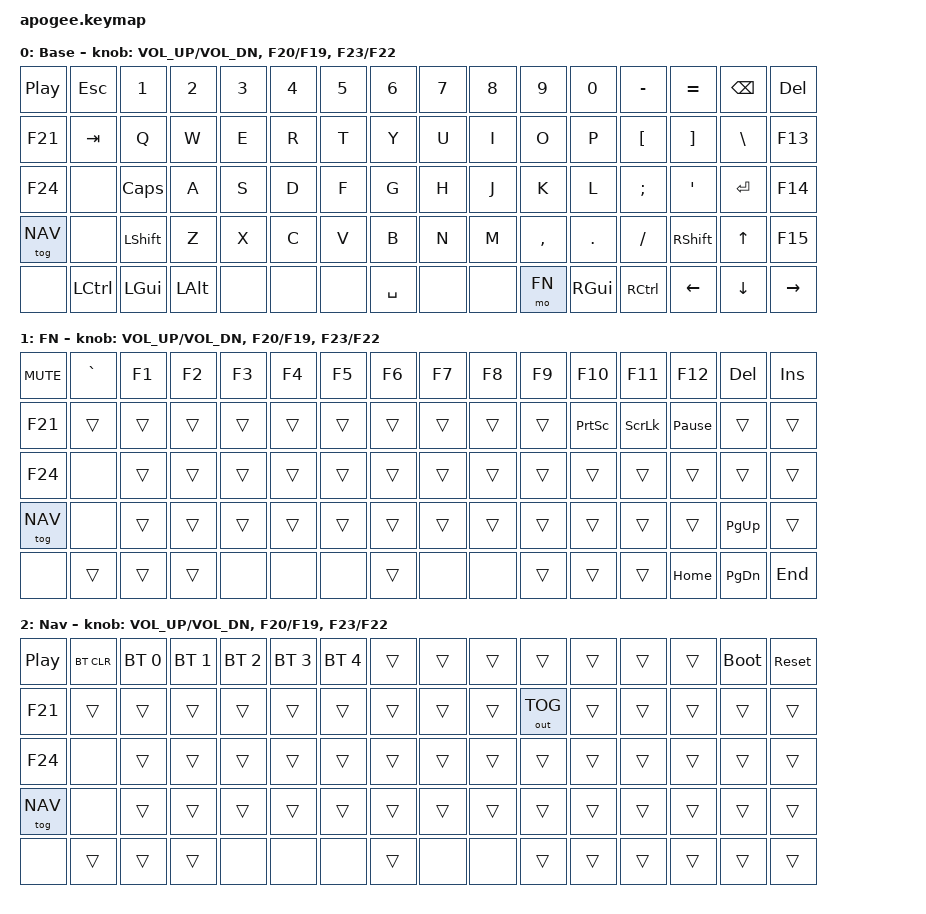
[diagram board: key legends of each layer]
/*
 * Copyright (c) 2024 The ZMK Contributors
 * SPDX-License-Identifier: MIT
 *
 * Apogee Keyboard Keymap
 * Full 16x5 matrix - 16 bindings per row
 */

#include <behaviors.dtsi>
#include <dt-bindings/zmk/keys.h>
#include <dt-bindings/zmk/bt.h>
#include <dt-bindings/zmk/outputs.h>

#define DEFAULT 0
#define FN      1
#define NAV     2

/ {
    keymap {
        compatible = "zmk,keymap";

        default_layer {
            display-name = "Base";
            // 16 Cols x 5 Rows - All rows have exactly 16 bindings
            // C0        C1        C2        C3        C4        C5        C6        C7        C8        C9        C10       C11       C12       C13       C14       C15
            bindings = <
                // Row 0 - Encoder 1 press: Play/Pause
                &kp C_PP    &kp ESC   &kp N1    &kp N2    &kp N3    &kp N4    &kp N5    &kp N6    &kp N7    &kp N8    &kp N9    &kp N0    &kp MINUS &kp EQUAL &kp BSPC  &kp DEL
                // Row 1 - Encoder 2 press: F21
                &kp F21     &kp TAB   &kp Q     &kp W     &kp E     &kp R     &kp T     &kp Y     &kp U     &kp I     &kp O     &kp P     &kp LBKT  &kp RBKT  &kp BSLH  &kp F13
                // Row 2 - Encoder 3 press: F24
                &kp F24     &none     &kp CAPS  &kp A     &kp S     &kp D     &kp F     &kp G     &kp H     &kp J     &kp K     &kp L     &kp SEMI  &kp SQT   &kp RET   &kp F14
                // Row 3 - Nav layer toggle
                &tog NAV    &none     &kp LSHFT &kp Z     &kp X     &kp C     &kp V     &kp B     &kp N     &kp M     &kp COMMA &kp DOT   &kp FSLH  &kp RSHFT &kp UP    &kp F15
                // Row 4
                &none       &kp LCTRL &kp LGUI  &kp LALT  &none     &none     &none     &kp SPACE &none     &none     &mo FN    &kp RGUI  &kp RCTRL &kp LEFT  &kp DOWN  &kp RIGHT
            >;

            sensor-bindings = <
                &inc_dec_kp C_VOL_UP C_VOL_DN  // Encoder 1: Volume
                &inc_dec_kp F20 F19            // Encoder 2: CW=F20, CCW=F19
                &inc_dec_kp F23 F22            // Encoder 3: CW=F23, CCW=F22
            >;
        };

        fn_layer {
            display-name = "FN";
            bindings = <
                // Row 0 - Encoder 1 press: Play/Pause
                &kp C_MUTE    &kp GRAVE &kp F1    &kp F2    &kp F3    &kp F4    &kp F5    &kp F6    &kp F7    &kp F8    &kp F9    &kp F10   &kp F11   &kp F12   &kp DEL   &kp INS
                // Row 1 - Encoder 2 press: F21
                &kp F21     &trans    &trans    &trans    &trans    &trans    &trans    &trans    &trans    &trans    &trans    &kp PSCRN &kp SLCK  &kp PAUSE_BREAK &trans &trans
                // Row 2 - Encoder 3 press: F24
                &kp F24     &none     &trans    &trans    &trans    &trans    &trans    &trans    &trans    &trans    &trans    &trans    &trans    &trans    &trans    &trans
                // Row 3 - Nav layer toggle
                &tog NAV    &none     &trans    &trans    &trans    &trans    &trans    &trans    &trans    &trans    &trans    &trans    &trans    &trans    &kp PG_UP &trans
                // Row 4
                &none       &trans    &trans    &trans    &none     &none     &none     &trans    &none     &none     &trans    &trans    &trans    &kp HOME  &kp PG_DN &kp END
            >;

            sensor-bindings = <
                &inc_dec_kp C_VOL_UP C_VOL_DN  // Encoder 1: Volume
                &inc_dec_kp F20 F19            // Encoder 2: CW=F20, CCW=F19
                &inc_dec_kp F23 F22            // Encoder 3: CW=F23, CCW=F22
            >;
        };

        nav_layer {
            display-name = "Nav";
            bindings = <
                // Row 0 - Encoder 1 press: Play/Pause
                &kp C_PP    &bt BT_CLR &bt BT_SEL 0 &bt BT_SEL 1 &bt BT_SEL 2 &bt BT_SEL 3 &bt BT_SEL 4 &trans &trans &trans &trans &trans &trans &trans &bootloader &sys_reset
                // Row 1 - Encoder 2 press: F21
                &kp F21     &trans    &trans    &trans    &trans    &trans    &trans    &trans    &trans    &trans    &out OUT_TOG &trans &trans &trans &trans &trans
                // Row 2 - Encoder 3 press: F24
                &kp F24     &none     &trans    &trans    &trans    &trans    &trans    &trans    &trans    &trans    &trans    &trans    &trans    &trans    &trans    &trans
                // Row 3 - Toggle Nav off (back to default)
                &tog NAV    &none     &trans    &trans    &trans    &trans    &trans    &trans    &trans    &trans    &trans    &trans    &trans    &trans    &trans    &trans
                // Row 4
                &none       &trans    &trans    &trans    &none     &none     &none     &trans    &none     &none     &trans    &trans    &trans    &trans    &trans    &trans
            >;

            sensor-bindings = <
                &inc_dec_kp C_VOL_UP C_VOL_DN  // Encoder 1: Volume
                &inc_dec_kp F20 F19            // Encoder 2: CW=F20, CCW=F19
                &inc_dec_kp F23 F22            // Encoder 3: CW=F23, CCW=F22
            >;
        };
    };
};
